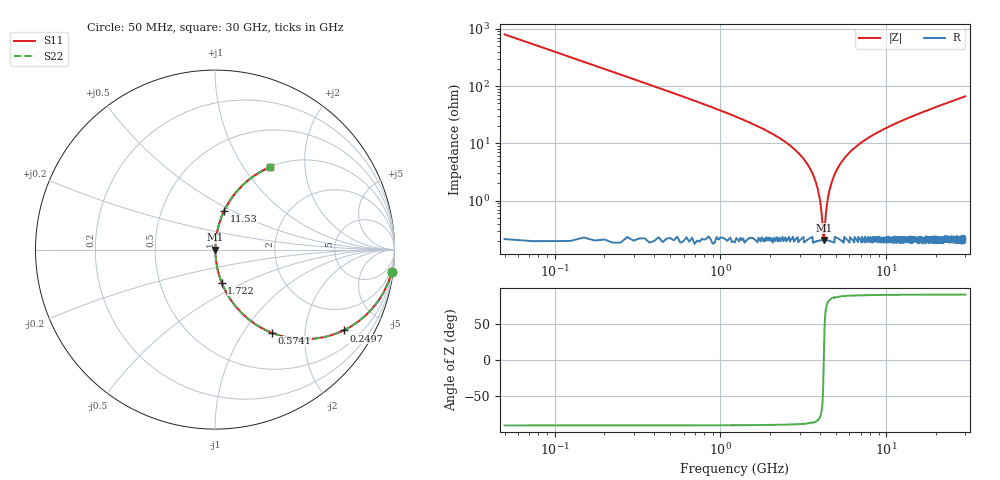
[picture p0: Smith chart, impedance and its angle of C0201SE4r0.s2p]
!	AVX Thin Film Operation 	Date: April 2014
!	Description: Accu-P® Series, Thin Film  SMD RF Capacitor
!	Part Number: 02013K4R0ABSTR
# MHZ S MA R 50
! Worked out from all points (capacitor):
!   1201 points, 50 MHz to 30 GHz, reference 50 ohm
!   read as one part in series: C = 4 pF near 199.8 MHz
!   lowest |Z| = 208 mohm at 4.193 GHz (marker M1)
!   series resonance near 4.2 GHz, so ESL is about 360 pH
!   S11 on the Smith chart (normalised r, x): 50 MHz: 1, -16; 249.7 MHz: 1.00, -3.18; 574.1 MHz: 1.00, -1.36; 1.722 GHz: 1.00, -0.38; 11.53 GHz: 1.00, +0.45; 30 GHz: 1.00, +1.33
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50  0.992 -7.2  0.125 82.8  0.125 82.8  0.992 -7.2
249.667  0.846 -32.2  0.533 57.7  0.533 57.7  0.846 -32.2
574.125  0.562 -55.7  0.826 34.2  0.826 34.2  0.562 -55.7
998.417  0.351 -69.1  0.934 20.6  0.934 20.6  0.351 -69.1
1722.208  0.188 -78.5  0.98 10.9  0.98 10.9  0.188 -78.5
2845.333  0.075 -84.1  0.995 4.3  0.995 4.3  0.075 -84.1
3469.292  0.036 -84.6  0.997 2.1  0.997 2.1  0.036 -84.6
3843.667  0.017 -81.9  0.998 1.0  0.998 1.0  0.017 -81.9
4093.25  0.005298 -66.4  0.998 0.3  0.998 0.3  0.005298 -66.4
4193.083  0.002118 -8.4  0.998 0.0  0.998 0.0  0.002118 -8.4
4292.917  0.004641 62.9  0.998 -0.2  0.998 -0.2  0.004641 62.9
4442.667  0.011 78.2  0.998 -0.6  0.998 -0.6  0.011 78.2
4592.417  0.017 82.0  0.998 -1.0  0.998 -1.0  0.017 82.0
5041.667  0.035 84.6  0.997 -2.0  0.997 -2.0  0.035 84.6
5715.542  0.059 84.6  0.996 -3.4  0.996 -3.4  0.059 84.6
6738.833  0.092 83.4  0.994 -5.3  0.994 -5.3  0.092 83.4
10058.29  0.184 78.8  0.981 -10.6  0.981 -10.6  0.184 78.8
11530.83  0.22 76.8  0.974 -12.7  0.974 -12.7  0.22 76.8
15025  0.298 72.3  0.953 -17.3  0.953 -17.3  0.298 72.3
20016.67  0.396 66.4  0.917 -23.3  0.917 -23.3  0.396 66.4
25033.29  0.48 61.1  0.875 -28.7  0.875 -28.7  0.48 61.1
30000  0.552 56.3  0.832 -33.5  0.832 -33.5  0.552 56.3
